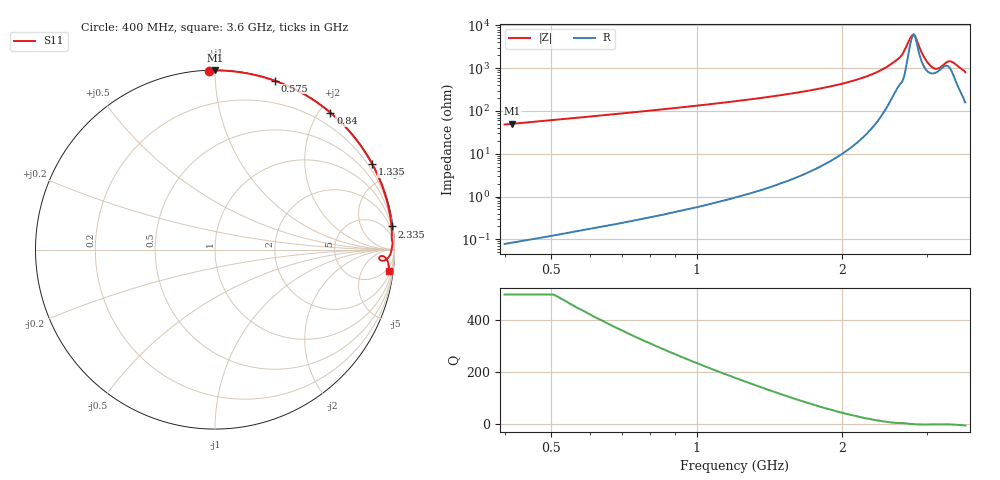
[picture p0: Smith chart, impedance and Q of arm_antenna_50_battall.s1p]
! arm_antenna_50_battall
! simulated by sim/rf_fdtd.py
# HZ S RI R 50
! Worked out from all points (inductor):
!   641 points, 400 MHz to 3.6 GHz, reference 50 ohm
!   read as one part to ground: L = 18.7 nH near 415 MHz
!   highest Q = 599 at 415 MHz (marker M1), where L = 19.2 nH
!   self-resonance near 2.817 GHz
!   S11 on the Smith chart (normalised r, x): 400 MHz: 0.00, +0.96; 575 MHz: 0.00, +1.41; 840 MHz: 0.01, +2.15; 1.335 GHz: 0.03, +3.92; 2.335 GHz: 1, +15; 3.6 GHz: 3, -16
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4e8  -0.036 0.9977
4.15e8  0.00201 0.9983
4.95e8  0.1837 0.981
5.75e8  0.3315 0.9412
6.25e8  0.4089 0.9101
6.8e8  0.4825 0.8732
7.4e8  0.5511 0.8315
8e8  0.6094 0.7896
8.4e8  0.6434 0.7621
9.2e8  0.7017 0.7087
1.005e9  0.7521 0.6548
1.1e9  0.7973 0.5987
1.2e9  0.8354 0.5441
1.335e9  0.8752 0.4771
1.6e9  0.9273 0.3642
2e9  0.9687 0.2265
2.335e9  0.9836 0.1292
2.4e9  0.9847 0.1115
2.655e9  0.9871 0.0485
2.8e9  0.9843 0.00495
2.925e9  0.9727 -0.0337
3.04e9  0.9435 -0.0607
3.13e9  0.9173 -0.0551
3.2e9  0.9183 -0.0393
3.255e9  0.931 -0.0353
3.32e9  0.9473 -0.0427
3.43e9  0.9641 -0.07
3.6e9  0.9682 -0.119
